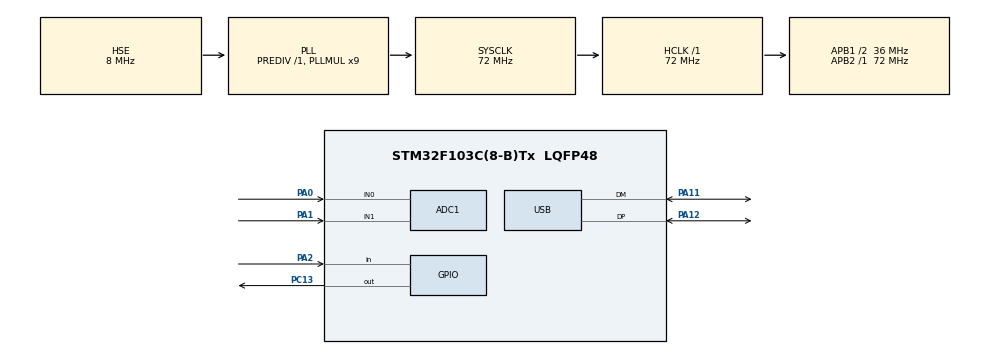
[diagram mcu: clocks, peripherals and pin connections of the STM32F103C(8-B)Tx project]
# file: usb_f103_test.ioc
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ADC1.Channel-0\#ChannelRegularConversion=ADC_CHANNEL_0
ADC1.Channel-1\#ChannelRegularConversion=ADC_CHANNEL_1
ADC1.ContinuousConvMode=ENABLE
ADC1.NbrOfConversion=2
ADC1.NbrOfConversionFlag=1
ADC1.Rank-0\#ChannelRegularConversion=1
ADC1.Rank-1\#ChannelRegularConversion=2
ADC1.SamplingTime-0\#ChannelRegularConversion=ADC_SAMPLETIME_239CYCLES_5
ADC1.SamplingTime-1\#ChannelRegularConversion=ADC_SAMPLETIME_239CYCLES_5
ADC1.master=1
Dma.ADC1.0.Direction=DMA_PERIPH_TO_MEMORY
Dma.ADC1.0.Instance=DMA1_Channel1
Dma.ADC1.0.MemDataAlignment=DMA_MDATAALIGN_HALFWORD
Dma.ADC1.0.MemInc=DMA_MINC_ENABLE
Dma.ADC1.0.Mode=DMA_CIRCULAR
Dma.ADC1.0.PeriphDataAlignment=DMA_PDATAALIGN_HALFWORD
Dma.ADC1.0.PeriphInc=DMA_PINC_DISABLE
Dma.ADC1.0.Priority=DMA_PRIORITY_LOW
Dma.Request0=ADC1
Mcu.Family=STM32F1
Mcu.Name=STM32F103C(8-B)Tx
Mcu.Package=LQFP48
NVIC.DMA1_Channel1_IRQn=true\:0\:0\:false\:false\:true\:false\:true\:true
NVIC.PriorityGroup=NVIC_PRIORITYGROUP_4
NVIC.USB_LP_CAN1_RX0_IRQn=true\:0\:0\:false\:false\:true\:false\:true\:true
PA0-WKUP.Signal=ADCx_IN0
PA1.Signal=ADCx_IN1
PA11.Mode=Device
PA11.Signal=USB_DM
PA12.Mode=Device
PA12.Signal=USB_DP
PA13.Mode=Serial_Wire
PA13.Signal=SYS_JTMS-SWDIO
PA14.Mode=Serial_Wire
PA14.Signal=SYS_JTCK-SWCLK
PA2.GPIO_PuPd=GPIO_PULLUP
PA2.Signal=GPIO_Input
PC13-TAMPER-RTC.Signal=GPIO_Output
PD0-OSC_IN.Mode=HSE-External-Oscillator
PD0-OSC_IN.Signal=RCC_OSC_IN
PD1-OSC_OUT.Mode=HSE-External-Oscillator
PD1-OSC_OUT.Signal=RCC_OSC_OUT
ProjectManager.HeapSize=0x200
ProjectManager.StackSize=0x400
ProjectManager.TargetToolchain=STM32CubeIDE
RCC.ADCPresc=RCC_ADCPCLK2_DIV8
RCC.AHBFreq_Value=72000000
RCC.APB1CLKDivider=RCC_HCLK_DIV2
RCC.APB1Freq_Value=36000000
RCC.APB1TimFreq_Value=72000000
RCC.APB2Freq_Value=72000000
RCC.APB2TimFreq_Value=72000000
RCC.HCLKFreq_Value=72000000
RCC.PLLMUL=RCC_PLL_MUL9
RCC.PLLSourceVirtual=RCC_PLLSOURCE_HSE
RCC.SYSCLKFreq_VALUE=72000000
RCC.SYSCLKSource=RCC_SYSCLKSOURCE_PLLCLK
RCC.USBFreq_Value=48000000
RCC.USBPrescaler=RCC_USBCLKSOURCE_PLL_DIV1_5
SH.ADCx_IN0.0=ADC1_IN0,IN0
SH.ADCx_IN1.0=ADC1_IN1,IN1
USB_DEVICE.CLASS_NAME_FS=HID
USB_DEVICE.USBD_SELF_POWERED=1
USB_DEVICE.VirtualMode=Hid
USB_DEVICE.VirtualModeFS=Hid_FS
VP_USB_DEVICE_VS_USB_DEVICE_HID_FS.Mode=HID_FS
board=custom

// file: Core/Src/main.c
/* USER CODE BEGIN Header */
/**
  ******************************************************************************
  * @file           : main.c
  * @brief          : Main program body
  ******************************************************************************
  * @attention
  *
  * Copyright (c) 2026 STMicroelectronics.
  * All rights reserved.
  *
  * This software is licensed under terms that can be found in the LICENSE file
  * in the root directory of this software component.
  * If no LICENSE file comes with this software, it is provided AS-IS.
  *
  ******************************************************************************
  */
/* USER CODE END Header */
#include "main.h"
#include "usb_device.h"

/* USER CODE BEGIN Includes */
#include "usbd_hid.h"
/* USER CODE END Includes */

ADC_HandleTypeDef hadc1;
DMA_HandleTypeDef hdma_adc1;

void SystemClock_Config(void);
static void MX_GPIO_Init(void);
static void MX_DMA_Init(void);
static void MX_ADC1_Init(void);

/* USER CODE BEGIN 0 */

uint8_t HID_Buffer[3] = {127, 127, 0};

uint16_t ADC_Val[2];

long map(long x, long in_min, long in_max, long out_min, long out_max)
{
  return (x - in_min) * (out_max - out_min + 1) / (in_max - in_min + 1) + out_min;
}

void HAL_ADC_ConvCpltCallback(ADC_HandleTypeDef *hadc)
{

//	HID_Buffer[0] = map(ADC_Val[0], 0, 4095, 0, 255);
//	HID_Buffer[1] = map(ADC_Val[1], 0, 4095, 0, 255);

	HID_Buffer[0] = ADC_Val[0]>>4;
	HID_Buffer[1] = ADC_Val[1]>>4;
}

extern USBD_HandleTypeDef hUsbDeviceFS;

/* USER CODE END 0 */

int main(void)
{

  /* MCU Configuration--------------------------------------------------------*/

  /* Reset of all peripherals, Initializes the Flash interface and the Systick. */
  HAL_Init();

  /* Configure the system clock */
  SystemClock_Config();

  /* Initialize all configured peripherals */
  MX_GPIO_Init();
  MX_DMA_Init();
  MX_USB_DEVICE_Init();
  MX_ADC1_Init();
  /* USER CODE BEGIN 2 */

  HAL_ADCEx_Calibration_Start(&hadc1);

  HAL_ADC_Start_DMA(&hadc1, (uint32_t *)ADC_Val, 2);

  /* USER CODE END 2 */

  /* Infinite loop */
  while (1)
  {

    /* USER CODE BEGIN 3 */
	  if (HAL_GPIO_ReadPin(GPIOA, GPIO_PIN_2) == 0)
	  {
		  HID_Buffer[2] = 1;
	  }
	  else HID_Buffer[2] = 0;
	  USBD_HID_SendReport(&hUsbDeviceFS, HID_Buffer, 3);
	  HAL_Delay(10);
  }
  /* USER CODE END 3 */
}

void SystemClock_Config(void)
{
  RCC_OscInitTypeDef RCC_OscInitStruct = {0};
  RCC_ClkInitTypeDef RCC_ClkInitStruct = {0};
  RCC_PeriphCLKInitTypeDef PeriphClkInit = {0};

  /** Initializes the RCC Oscillators according to the specified parameters
  * in the RCC_OscInitTypeDef structure.
  */
  RCC_OscInitStruct.OscillatorType = RCC_OSCILLATORTYPE_HSE;
  RCC_OscInitStruct.HSEState = RCC_HSE_ON;
  RCC_OscInitStruct.HSEPredivValue = RCC_HSE_PREDIV_DIV1;
  RCC_OscInitStruct.HSIState = RCC_HSI_ON;
  RCC_OscInitStruct.PLL.PLLState = RCC_PLL_ON;
  RCC_OscInitStruct.PLL.PLLSource = RCC_PLLSOURCE_HSE;
  RCC_OscInitStruct.PLL.PLLMUL = RCC_PLL_MUL9;
  if (HAL_RCC_OscConfig(&RCC_OscInitStruct) != HAL_OK)
  {
    Error_Handler();
  }

  /** Initializes the CPU, AHB and APB buses clocks
  */
  RCC_ClkInitStruct.ClockType = RCC_CLOCKTYPE_HCLK|RCC_CLOCKTYPE_SYSCLK
                              |RCC_CLOCKTYPE_PCLK1|RCC_CLOCKTYPE_PCLK2;
  RCC_ClkInitStruct.SYSCLKSource = RCC_SYSCLKSOURCE_PLLCLK;
  RCC_ClkInitStruct.AHBCLKDivider = RCC_SYSCLK_DIV1;
  RCC_ClkInitStruct.APB1CLKDivider = RCC_HCLK_DIV2;
  RCC_ClkInitStruct.APB2CLKDivider = RCC_HCLK_DIV1;

  if (HAL_RCC_ClockConfig(&RCC_ClkInitStruct, FLASH_LATENCY_2) != HAL_OK)
  {
    Error_Handler();
  }
  PeriphClkInit.PeriphClockSelection = RCC_PERIPHCLK_ADC|RCC_PERIPHCLK_USB;
  PeriphClkInit.AdcClockSelection = RCC_ADCPCLK2_DIV8;
  PeriphClkInit.UsbClockSelection = RCC_USBCLKSOURCE_PLL_DIV1_5;
  if (HAL_RCCEx_PeriphCLKConfig(&PeriphClkInit) != HAL_OK)
  {
    Error_Handler();
  }
}

static void MX_ADC1_Init(void)
{

  ADC_ChannelConfTypeDef sConfig = {0};

  /** Common config
  */
  hadc1.Instance = ADC1;
  hadc1.Init.ScanConvMode = ADC_SCAN_ENABLE;
  hadc1.Init.ContinuousConvMode = ENABLE;
  hadc1.Init.DiscontinuousConvMode = DISABLE;
  hadc1.Init.ExternalTrigConv = ADC_SOFTWARE_START;
  hadc1.Init.DataAlign = ADC_DATAALIGN_RIGHT;
  hadc1.Init.NbrOfConversion = 2;
  if (HAL_ADC_Init(&hadc1) != HAL_OK)
  {
    Error_Handler();
  }

  /** Configure Regular Channel
  */
  sConfig.Channel = ADC_CHANNEL_0;
  sConfig.Rank = ADC_REGULAR_RANK_1;
  sConfig.SamplingTime = ADC_SAMPLETIME_239CYCLES_5;
  if (HAL_ADC_ConfigChannel(&hadc1, &sConfig) != HAL_OK)
  {
    Error_Handler();
  }

  /** Configure Regular Channel
  */
  sConfig.Channel = ADC_CHANNEL_1;
  sConfig.Rank = ADC_REGULAR_RANK_2;
  if (HAL_ADC_ConfigChannel(&hadc1, &sConfig) != HAL_OK)
  {
    Error_Handler();
  }

}

static void MX_DMA_Init(void)
{

  /* DMA controller clock enable */
  __HAL_RCC_DMA1_CLK_ENABLE();

  /* DMA interrupt init */
  /* DMA1_Channel1_IRQn interrupt configuration */
  HAL_NVIC_SetPriority(DMA1_Channel1_IRQn, 0, 0);
  HAL_NVIC_EnableIRQ(DMA1_Channel1_IRQn);

}

static void MX_GPIO_Init(void)
{
  GPIO_InitTypeDef GPIO_InitStruct = {0};

  /* GPIO Ports Clock Enable */
  __HAL_RCC_GPIOC_CLK_ENABLE();
  __HAL_RCC_GPIOD_CLK_ENABLE();
  __HAL_RCC_GPIOA_CLK_ENABLE();

  /*Configure GPIO pin Output Level */
  HAL_GPIO_WritePin(GPIOC, GPIO_PIN_13, GPIO_PIN_RESET);

  /*Configure GPIO pin : PC13 */
  GPIO_InitStruct.Pin = GPIO_PIN_13;
  GPIO_InitStruct.Mode = GPIO_MODE_OUTPUT_PP;
  GPIO_InitStruct.Pull = GPIO_NOPULL;
  GPIO_InitStruct.Speed = GPIO_SPEED_FREQ_LOW;
  HAL_GPIO_Init(GPIOC, &GPIO_InitStruct);

  /*Configure GPIO pin : PA2 */
  GPIO_InitStruct.Pin = GPIO_PIN_2;
  GPIO_InitStruct.Mode = GPIO_MODE_INPUT;
  GPIO_InitStruct.Pull = GPIO_PULLUP;
  HAL_GPIO_Init(GPIOA, &GPIO_InitStruct);

}

void Error_Handler(void)
{
  __disable_irq();
  while (1)
  {
  }
}
